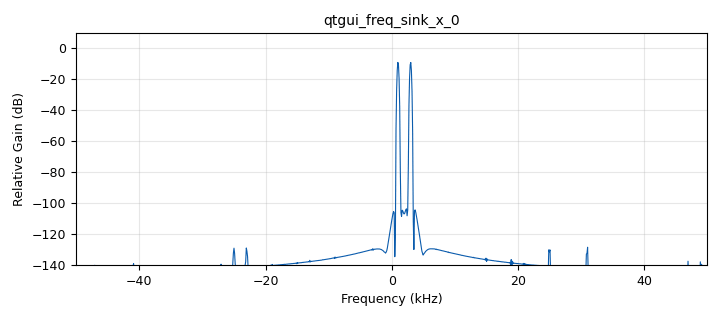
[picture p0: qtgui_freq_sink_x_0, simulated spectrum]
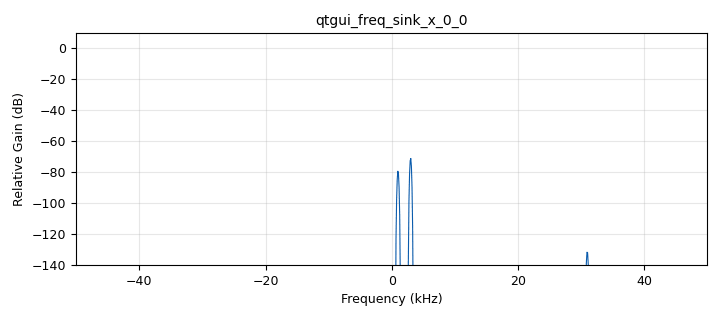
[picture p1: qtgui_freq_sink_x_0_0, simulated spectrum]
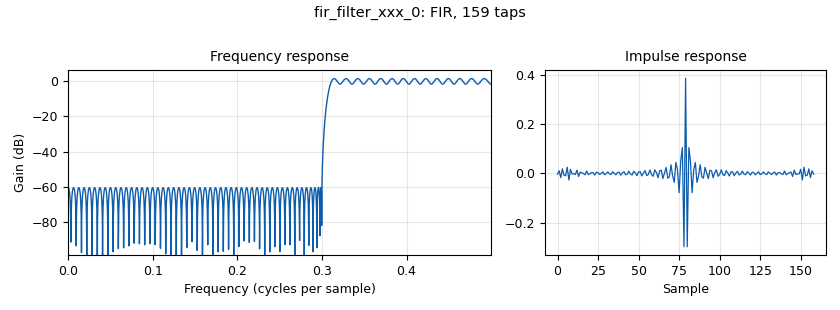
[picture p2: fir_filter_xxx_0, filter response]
options:
  parameters:
    author: gnuradio
    generate_options: qt_gui
    id: Q2_AsymmetricFilter
    output_language: python
    title: Not titled yet
  states: {}

blocks:
- name: freq
  id: variable_qtgui_range
  parameters:
    orient: Qt.Horizontal
    start: '100'
    step: '1'
    stop: '45000'
    value: '1000'
  states: {}
- name: samp_rate
  id: variable
  parameters:
    value: '100000'
  states: {}
- name: analog_sig_source_x_0
  id: analog_sig_source_x
  parameters:
    amp: '1'
    freq: '3000'
    offset: '0'
    phase: '0'
    samp_rate: samp_rate
    type: complex
    waveform: analog.GR_COS_WAVE
  states: {}
- name: analog_sig_source_x_1
  id: analog_sig_source_x
  parameters:
    amp: '1'
    freq: freq
    offset: '0'
    phase: '0'
    samp_rate: samp_rate
    type: complex
    waveform: analog.GR_COS_WAVE
  states: {}
- name: blocks_add_xx_0
  id: blocks_add_xx
  parameters:
    type: complex
  states: {}
- name: fir_filter_xxx_0
  id: fir_filter_xxx
  parameters:
    decim: '1'
    taps: |-
      [-0.0035016793730763608,
        0.010227397900727221,
        -0.017312029953984554,
        0.018112399266820175,
        -0.008017623074594157,
        -0.009834947925940106,
        0.024837259651984037,
        -0.0269968287818944,
        0.01614421012523863,
        -0.0027645279140073586,
        -0.0015586877981444132,
        -0.004905386439715962,
        0.013029841032252102,
        -0.013025354815411505,
        0.0049007037060082095,
        0.002231641450348788,
        -0.0009702757278010014,
        -0.005975427440172632,
        0.009437518051110991,
        -0.004922328191587614,
        -0.002165706259418292,
        0.0033944845264092275,
        0.0022547872271015306,
        -0.007241356233100217,
        0.00498668104060772,
        0.0018434730107370085,
        -0.004721311312407328,
        0.00011047251128663375,
        0.0059413853764390375,
        -0.005451081539387879,
        -0.0012085833939882672,
        0.005603154523554115,
        -0.0020113863625449333,
        -0.005015341573440203,
        0.006267903040854867,
        0.00019829570982638807,
        -0.006217916381271978,
        0.003855890779948514,
        0.00410029107423173,
        -0.007316926338141165,
        0.0012300681026816297,
        0.0065950009302472795,
        -0.005855524695860146,
        -0.002939403940067279,
        0.008506789268918687,
        -0.0031729929769107887,
        -0.00665243892566088,
        0.008119709584747812,
        0.0013152701864900516,
        -0.009758087194040355,
        0.005772624413468757,
        0.006245943940518512,
        -0.010746427338786961,
        0.0010351821740671849,
        0.010983580997703687,
        -0.009249918381635238,
        -0.005161874296772019,
        0.013916970971211463,
        -0.004557765620259429,
        -0.01204498342533683,
        0.014009675000392454,
        0.003030583633300661,
        -0.01798802900883093,
        0.010013449955574315,
        0.012989141972964805,
        -0.021321238641307375,
        0.0011324621640551396,
        0.0241013626933552,
        -0.019847424659428937,
        -0.01365246740538344,
        0.0349982369458351,
        -0.010573770074024672,
        -0.03661989927574507,
        0.04417833716863266,
        0.014089643703556297,
        -0.07875482989432306,
        0.050296776451801826,
        0.10463056995110531,
        -0.2979942078059704,
        0.38575256557781107,
        -0.2979942078059704,
        0.10463056995110531,
        0.050296776451801826,
        -0.07875482989432306,
        0.014089643703556297,
        0.04417833716863266,
        -0.03661989927574507,
        -0.010573770074024672,
        0.0349982369458351,
        -0.01365246740538344,
        -0.019847424659428937,
        0.0241013626933552,
        0.0011324621640551396,
        -0.021321238641307375,
        0.012989141972964805,
        0.010013449955574315,
        -0.01798802900883093,
        0.003030583633300661,
        0.014009675000392454,
        -0.01204498342533683,
        -0.004557765620259429,
        0.013916970971211463,
        -0.005161874296772019,
        -0.009249918381635238,
        0.010983580997703687,
        0.0010351821740671849,
        -0.010746427338786961,
        0.006245943940518512,
        0.005772624413468757,
        -0.009758087194040355,
        0.0013152701864900516,
        0.008119709584747812,
        -0.00665243892566088,
        -0.0031729929769107887,
        0.008506789268918687,
        -0.002939403940067279,
        -0.005855524695860146,
        0.0065950009302472795,
        0.0012300681026816297,
        -0.007316926338141165,
        0.00410029107423173,
        0.003855890779948514,
        -0.006217916381271978,
        0.00019829570982638807,
        0.006267903040854867,
        -0.005015341573440203,
        -0.0020113863625449333,
        0.005603154523554115,
        -0.0012085833939882672,
        -0.005451081539387879,
        0.0059413853764390375,
        0.00011047251128663375,
        -0.004721311312407328,
        0.0018434730107370085,
        0.00498668104060772,
        -0.007241356233100217,
        0.0022547872271015306,
        0.0033944845264092275,
        -0.002165706259418292,
        -0.004922328191587614,
        0.009437518051110991,
        -0.005975427440172632,
        -0.0009702757278010014,
        0.002231641450348788,
        0.0049007037060082095,
        -0.013025354815411505,
        0.013029841032252102,
        -0.004905386439715962,
        -0.0015586877981444132,
        -0.0027645279140073586,
        0.01614421012523863,
        -0.0269968287818944,
        0.024837259651984037,
        -0.009834947925940106,
        -0.008017623074594157,
        0.018112399266820175,
        -0.017312029953984554,
        0.010227397900727221,
        -0.0035016793730763608]
    type: ccc
  states: {}
- name: qtgui_freq_sink_x_0
  id: qtgui_freq_sink_x
  parameters:
    bw: samp_rate
    fc: '0'
    fftsize: '1024'
    type: complex
    wintype: firdes.WIN_BLACKMAN_hARRIS
  states: {}
- name: qtgui_freq_sink_x_0_0
  id: qtgui_freq_sink_x
  parameters:
    bw: samp_rate
    fc: '0'
    fftsize: '1024'
    type: complex
    wintype: firdes.WIN_BLACKMAN_hARRIS
  states: {}

connections:
- [analog_sig_source_x_0, '0', blocks_add_xx_0, '0']
- [analog_sig_source_x_1, '0', blocks_add_xx_0, '1']
- [blocks_add_xx_0, '0', fir_filter_xxx_0, '0']
- [blocks_add_xx_0, '0', qtgui_freq_sink_x_0, '0']
- [fir_filter_xxx_0, '0', qtgui_freq_sink_x_0_0, '0']

metadata:
  file_format: 1
